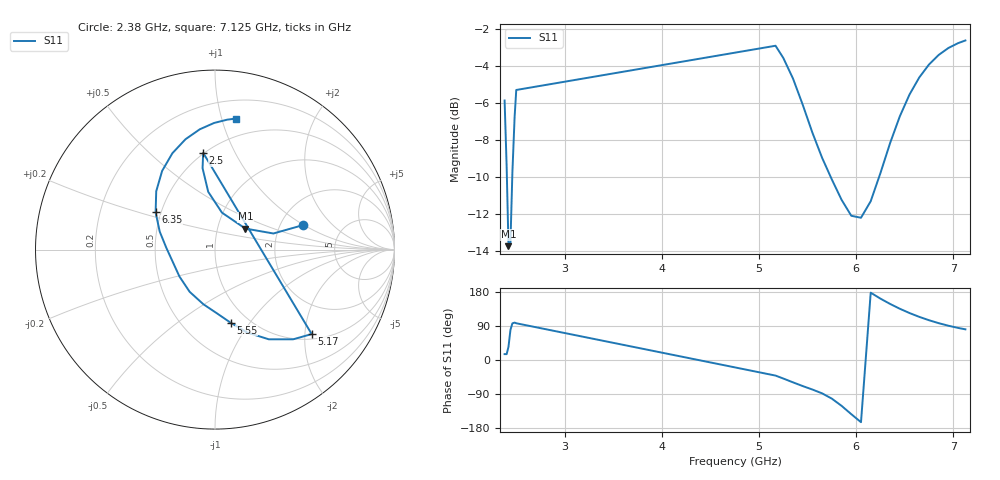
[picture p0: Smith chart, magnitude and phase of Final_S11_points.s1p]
! Generated by Hertzon (EMerge FEM)
# HZ S RI R 50
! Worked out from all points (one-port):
!   28 points, 2.38 GHz to 7.125 GHz, reference 50 ohm
!   lowest |S11| = -13.7 dB at 2.42 GHz (marker M1), VSWR 1.52, Z = 68 + j16.6 ohm
!   |S11| at or under -10 dB: 2.403 GHz to 2.459 GHz (55.36 MHz wide, 2.28 % of centre); 5.738 GHz to 6.236 GHz (498.2 MHz wide, 8.32 % of centre)
!   S11 on the Smith chart (normalised r, x): 2.38 GHz: 2.66, +0.98; 2.5 GHz: 0.49, +0.76; 5.17 GHz: 1.12, -2.17; 5.55 GHz: 0.83, -0.81; 6.35 GHz: 0.47, +0.23; 7.125 GHz: 0.35, +1.11
2.38e9  0.4902 0.1363
2.401e9  0.3253 0.0898
2.42e9  0.1689 0.1172
2.44e9  0.0388 0.2058
2.46e9  -0.0379 0.322
2.483e9  -0.0693 0.4537
2.5e9  -0.0659 0.5393
5.17e9  0.5387 -0.4706
5.25e9  0.4357 -0.4997
5.35e9  0.3002 -0.4999
5.45e9  0.1792 -0.462
5.55e9  0.0867 -0.4071
5.65e9  0.0118 -0.3557
5.75e9  -0.0648 -0.3044
5.85e9  -0.1412 -0.2352
5.95e9  -0.1983 -0.1496
6.05e9  -0.236 -0.0671
6.15e9  -0.2717 0.011
6.25e9  -0.308 0.1003
6.35e9  -0.3309 0.2076
6.45e9  -0.3274 0.325
6.55e9  -0.2945 0.4386
6.65e9  -0.2372 0.5372
6.75e9  -0.1644 0.6148
6.85e9  -0.0848 0.6703
6.95e9  -0.00559 0.7054
7.05e9  0.0677 0.7239
7.125e9  0.1166 0.73
